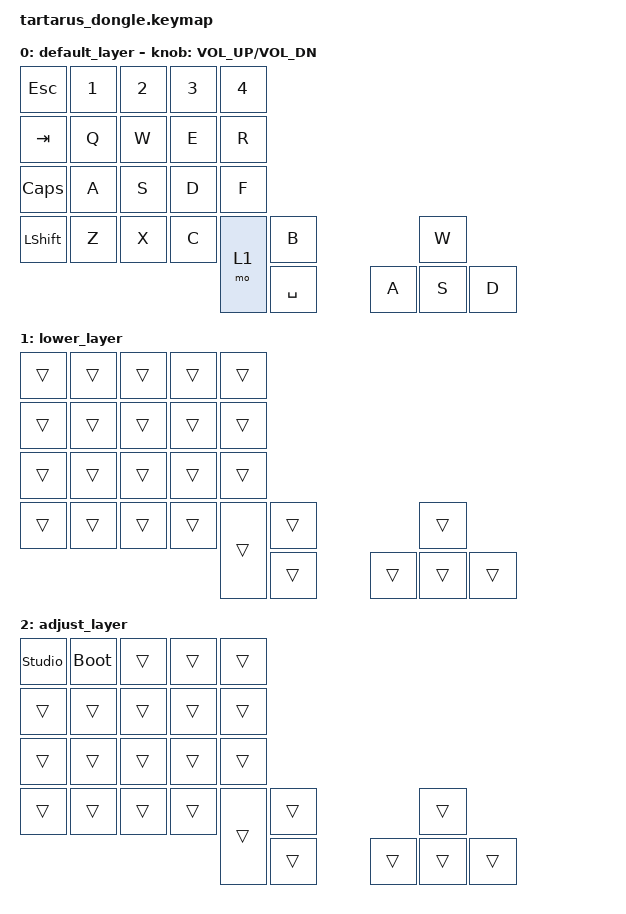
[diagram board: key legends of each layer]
// This file was generated from a template. Edit it to match your keyboard.
// See https://zmk.dev/docs/development/hardware-integration/new-shield for more instructions.

#include <behaviors.dtsi>
#include <dt-bindings/zmk/keys.h>
#include <dt-bindings/zmk/bt.h>
#include <dt-bindings/zmk/outputs.h>
#include <dt-bindings/zmk/pointing.h>

/ {
    keymap {
        compatible = "zmk,keymap";

        default_layer {
            bindings = <
                &kp ESC   &kp N1    &kp N2    &kp N3    &kp N4
                &kp TAB   &kp Q     &kp W     &kp E     &kp R
                &kp CAPS  &kp A     &kp S     &kp D     &kp F
                &kp LSHIFT &kp Z    &kp X     &kp C     &mo 1    &kp B   &kp SPACE
                &kp W     &kp A     &kp S     &kp D  // Joystick "WASD" placeholders
            >;
            sensor-bindings = <&inc_dec_kp C_VOL_UP C_VOL_DN>;
        };

        lower_layer {
            bindings = <
                &trans    &trans    &trans    &trans    &trans
                &trans    &trans    &trans    &trans    &trans
                &trans    &trans    &trans    &trans    &trans
                &trans    &trans    &trans    &trans    &trans   &trans  &trans
                &trans    &trans    &trans    &trans
            >;
        };
        
        // This layer matches your "Fn1" layout
        adjust_layer {
            bindings = <
                &studio_unlock &bootloader &trans    &trans    &trans
                &trans         &trans      &trans    &trans    &trans
                &trans         &trans      &trans    &trans    &trans
                &trans         &trans      &trans    &trans    &trans   &trans  &trans
                &trans         &trans      &trans    &trans
            >;
        };
    };
};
